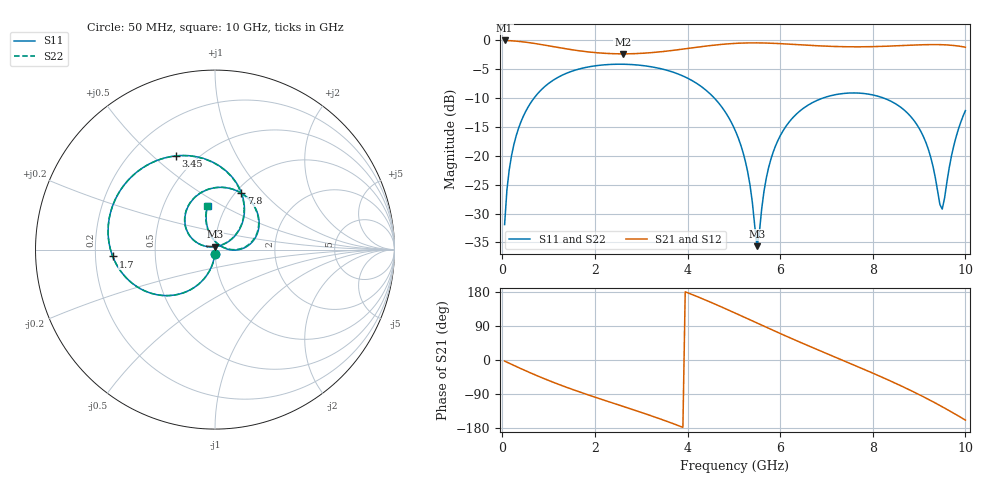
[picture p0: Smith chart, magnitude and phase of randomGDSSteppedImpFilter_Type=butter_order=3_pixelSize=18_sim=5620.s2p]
! freq	dB(S11)	phase(S11)	dB(S12)	phase(S12)
!  dB(S21)	phase(S21)	dB(S22)	phase(S22)
!S-par simulation data
#  GHz  S  DB  R 50
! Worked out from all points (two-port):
!   200 points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, 50 MHz to 10 GHz, reference 50 ohm
!   highest |S21| = -0.01 dB at 50 MHz (marker M1); lowest = -2.3 dB at 2.6 GHz (marker M2)
!   |S21| within 3 dB of the highest: start of sweep to end of sweep
!   lowest |S11| = -35.6 dB at 5.5 GHz (marker M3), VSWR 1.03, Z = 50 + j1.65 ohm
!   |S11| at or under -10 dB: start of sweep to 685.3 MHz; 4.58 GHz to 6.919 GHz (2.339 GHz wide, 40.7 % of centre); 8.239 GHz to end of sweep
!   |S22| runs from -35.3 to -4.1 dB; largest |S21 - S12| = 0
!   S11 on the Smith chart (normalised r, x): 50 MHz: 1.00, -0.05; 1.7 GHz: 0.27, -0.03; 3.45 GHz: 0.39, +0.60; 7.8 GHz: 1.06, +0.76; 10 GHz: 0.82, +0.43
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0.05  -31.91 -93.0  -0.01 -2.9  -0.01 -2.9  -31.91 -93.0
0.2  -19.94 -101.9  -0.06 -11.5  -0.06 -11.5  -19.94 -101.9
0.5  -12.38 -118.7  -0.30 -28.2  -0.30 -28.2  -12.38 -118.7
1.05  -7.16 -146.9  -1.00 -56.4  -1.00 -56.4  -7.16 -146.9
1.7  -4.87 -176.2  -1.84 -85.6  -1.84 -85.6  -4.87 -176.1
1.75  -4.77 -178.3  -1.89 -87.7  -1.89 -87.7  -4.77 -178.2
2.6  -4.12 147.4  -2.33 -122.1  -2.33 -122.1  -4.12 147.5
3.4  -4.86 114.7  -1.98 -155.1  -1.98 -155.1  -4.85 115.0
3.45  -4.95 112.6  -1.94 -157.3  -1.94 -157.3  -4.95 112.8
4.3  -8.00 73.6  -1.08 162.7  -1.08 162.7  -8.00 74.0
5.05  -15.98 37.2  -0.50 122.7  -0.50 122.7  -15.98 37.9
5.3  -22.82 30.5  -0.43 108.7  -0.43 108.7  -22.80 31.5
5.5  -35.65 88.4  -0.42 97.6  -0.42 97.6  -35.28 89.2
5.7  -23.88 161.1  -0.45 86.4  -0.45 86.4  -23.86 161.0
5.9  -18.28 157.2  -0.52 75.4  -0.52 75.4  -18.27 157.4
6.7  -10.77 119.8  -0.88 32.8  -0.88 32.8  -10.77 120.3
7.8  -9.19 65.0  -1.10 -24.1  -1.10 -24.1  -9.19 65.8
8.35  -10.37 36.9  -0.99 -53.6  -0.99 -53.6  -10.37 37.8
9.05  -15.95 2.8  -0.76 -94.3  -0.76 -94.3  -15.94 3.9
9.5  -29.22 59.7  -0.74 -123.4  -0.74 -123.4  -29.04 60.3
9.75  -18.22 109.0  -0.88 -140.6  -0.88 -140.6  -18.21 109.6
10  -12.16 99.6  -1.18 -158.6  -1.18 -158.6  -12.16 100.4
